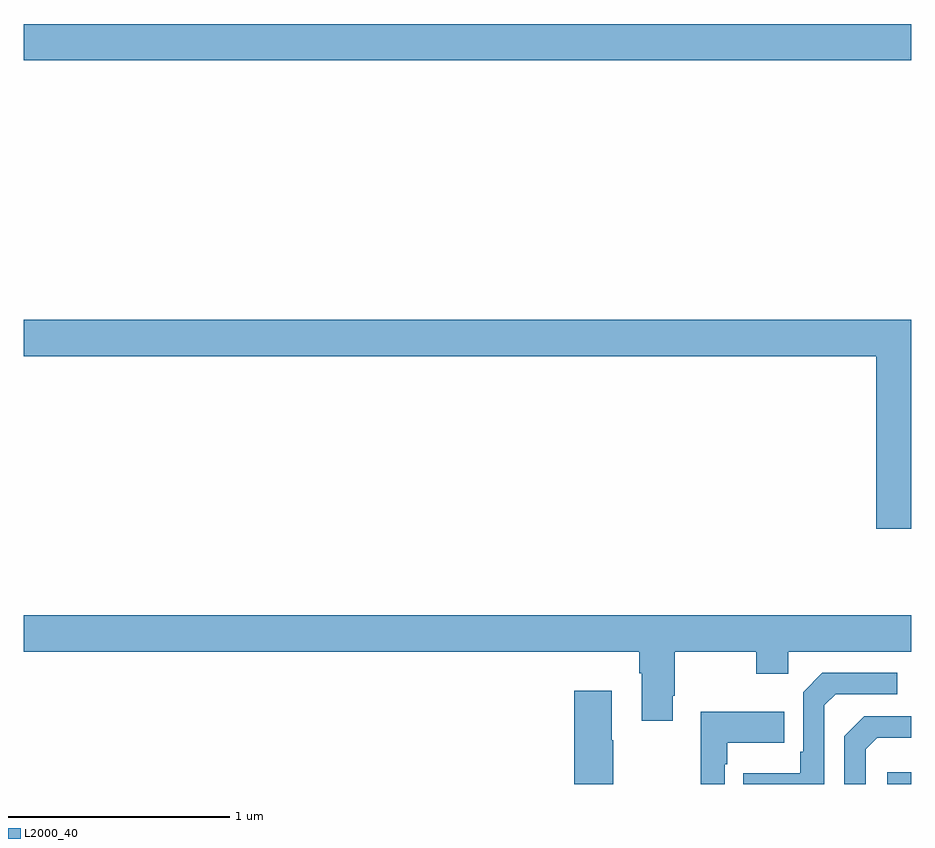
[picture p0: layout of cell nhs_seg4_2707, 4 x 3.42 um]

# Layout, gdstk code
import gdstk
lib = gdstk.Library(unit=1e-6, precision=1e-09)
def R(c, l, rs):  # rectangles x0, y0, x1, y1
    for r in rs: c.add(gdstk.rectangle(r[:2], r[2:], *l))
def P(c, l, *ps):  # polygons
    for p in ps: c.add(gdstk.Polygon(p, *l))
L2000_40 = (2000, 40)

nhs_seg4_2707 = lib.new_cell('nhs_seg4_2707')
R(nhs_seg4_2707, L2000_40, [(256.892,786.9,257,786.952), (253,790.16,257,790.324)])
P(nhs_seg4_2707, L2000_40, [(257,788.992),(253,788.992),(253,788.828),(256.841,788.828),(256.841,788.049),(257,788.049)],
  [(255.925,787.297),(255.933,787.297),(255.933,787.496),(256.3,787.496),(256.3,787.397),(256.446,787.397),(256.446,787.496),(257,787.496),(257,787.66),(253,787.66),(253,787.496),(255.773,787.496),(255.773,787.4),(255.785,787.4),(255.785,787.185),(255.925,787.185)],
  [(256.608,787.254),(256.659,787.305),(256.936,787.305),(256.936,787.401),(256.599,787.401),(256.512,787.314),(256.512,787.045),(256.5,787.045),(256.5,786.949),(256.243,786.949),(256.243,786.9),(256.608,786.9)],
  [(255.657,787.097),(255.649,787.097),(255.649,787.321),(255.482,787.321),(255.482,786.9),(255.657,786.9)],
  [(256.158,786.989),(256.171,786.989),(256.171,787.085),(256.427,787.085),(256.427,787.225),(256.05,787.225),(256.05,786.9),(256.158,786.9)],
  [(256.794,787.056),(256.847,787.109),(257,787.109),(257,787.206),(256.788,787.206),(256.698,787.116),(256.698,786.9),(256.794,786.9)])

lib.write_gds('nhs_seg4_2707.gds')
